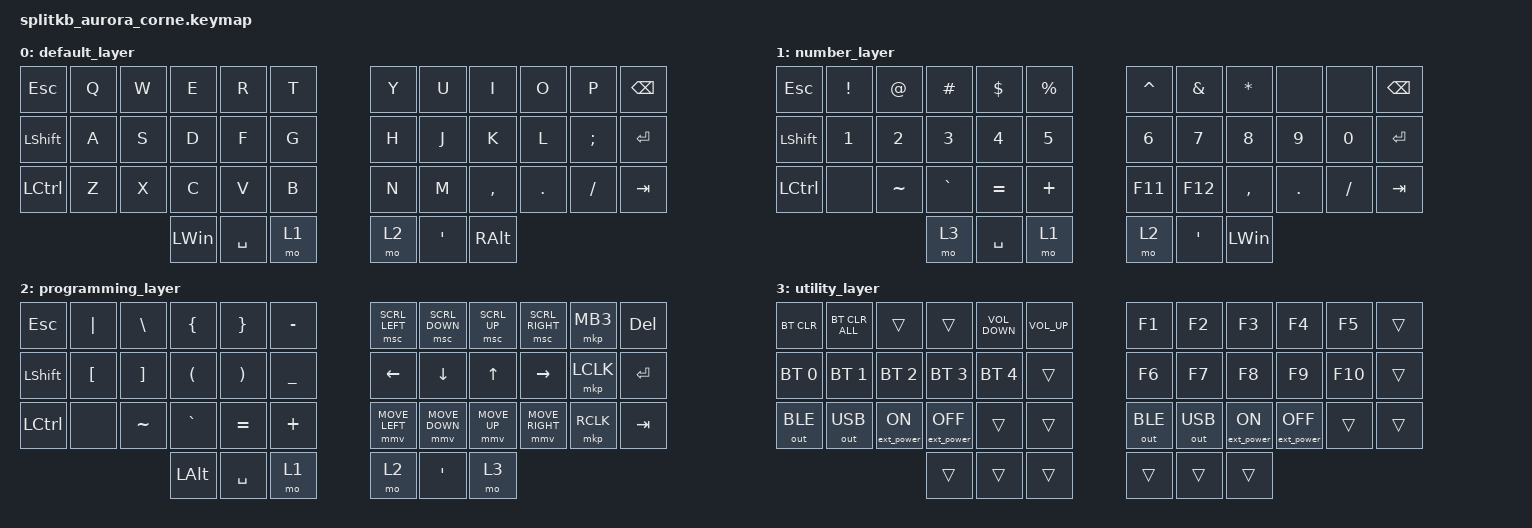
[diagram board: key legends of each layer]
/*
 * Copyright (c) 2020 The ZMK Contributors
 *
 * SPDX-License-Identifier: MIT
 */

#include <behaviors.dtsi>
#include <dt-bindings/zmk/bt.h>
#include <dt-bindings/zmk/ext_power.h>
#include <dt-bindings/zmk/keys.h>
#include <dt-bindings/zmk/outputs.h>
#include <dt-bindings/zmk/pointing.h>

/ {
    keymap {
        compatible = "zmk,keymap";

        default_layer {
            // -----------------------------------------------------------------------------------------
            // |  TAB |  Q  |  W  |  E  |  R  |  T  |   |  Y  |  U   |  I  |  O  |  P  | BSPC |
            // | CTRL |  A  |  S  |  D  |  F  |  G  |   |  H  |  J   |  K  |  L  |  ;  |  '   |
            // | SHFT |  Z  |  X  |  C  |  V  |  B  |   |  N  |  M   |  ,  |  .  |  /  | ESC  |
            //                    | GUI | LWR | SPC |   | ENT | RSE  | ALT |

            bindings = <
&kp ESCAPE        &kp Q  &kp W  &kp E         &kp R      &kp T    &kp Y  &kp U    &kp I          &kp O    &kp P     &kp BSPC
&kp LEFT_SHIFT    &kp A  &kp S  &kp D         &kp F      &kp G    &kp H  &kp J    &kp K          &kp L    &kp SEMI  &kp ENTER
&kp LEFT_CONTROL  &kp Z  &kp X  &kp C         &kp V      &kp B    &kp N  &kp M    &kp COMMA      &kp DOT  &kp FSLH  &kp TAB
                                &kp LEFT_WIN  &kp SPACE  &mo 1    &mo 2  &kp SQT  &kp RIGHT_ALT
            >;
        };

        number_layer {
            // -----------------------------------------------------------------------------------------
            // |  TAB |  1  |  2  |  3  |  4  |  5  |   |  6  |  7  |  8  |  9  |  0  | BSPC |
            // | BTCLR| BT1 | BT2 | BT3 | BT4 | BT5 |   | LFT | DWN |  UP | RGT |     |      |
            // | SHFT |     |     |     |     |     |   |     |     |     |     |     |      |
            //                    | GUI |     | SPC |   | ENT |     | ALT |

            bindings = <
&kp ESCAPE        &kp EXCL  &kp AT     &kp HASH   &kp DOLLAR  &kp PERCENT    &kp CARET  &kp AMPERSAND  &kp ASTRK     &none    &none     &kp BSPC
&kp LEFT_SHIFT    &kp N1    &kp N2     &kp N3     &kp N4      &kp N5         &kp N6     &kp N7         &kp N8        &kp N9   &kp N0    &kp ENTER
&kp LEFT_CONTROL  &none     &kp TILDE  &kp GRAVE  &kp EQUAL   &kp PLUS       &kp F11    &kp F12        &kp COMMA     &kp DOT  &kp FSLH  &kp TAB
                                       &mo 3      &kp SPACE   &mo 1          &mo 2      &kp SQT        &kp LEFT_WIN
            >;
        };

        programming_layer {
            // -----------------------------------------------------------------------------------------
            // |  TAB |  !  |  @  |  #  |  $  |  %  |   |  ^  |  &  |  *  |  (  |  )  | BSPC |
            // | CTRL |     |     |     |     |     |   |  -  |  =  |  [  |  ]  |  \  |  `   |
            // | SHFT |     |     |     |     |     |   |  _  |  +  |  {  |  }  | "|" |  ~   |
            //                    | GUI |     | SPC |   | ENT |     | ALT |

            bindings = <
&kp ESCAPE        &kp PIPE  &kp BACKSLASH  &kp LEFT_BRACE        &kp RIGHT_BRACE        &kp MINUS         &msc SCRL_LEFT  &msc SCRL_DOWN  &msc SCRL_UP  &msc SCRL_RIGHT  &mkp MB3   &kp DEL
&kp LEFT_SHIFT    &kp LBKT  &kp RBKT       &kp LEFT_PARENTHESIS  &kp RIGHT_PARENTHESIS  &kp UNDERSCORE    &kp LEFT        &kp DOWN        &kp UP        &kp RIGHT        &mkp LCLK  &kp ENTER
&kp LEFT_CONTROL  &none     &kp TILDE      &kp GRAVE             &kp EQUAL              &kp PLUS          &mmv MOVE_LEFT  &mmv MOVE_DOWN  &mmv MOVE_UP  &mmv MOVE_RIGHT  &mkp RCLK  &kp TAB
                                           &kp LEFT_ALT          &kp SPACE              &mo 1             &mo 2           &kp SQT         &mo 3
            >;
        };

        utility_layer {
            bindings = <
&bt BT_CLR    &bt BT_CLR_ALL  &trans            &trans             &kp K_VOLUME_DOWN  &kp K_VOLUME_UP    &kp F1        &kp F2        &kp F3            &kp F4             &kp F5   &trans
&bt BT_SEL 0  &bt BT_SEL 1    &bt BT_SEL 2      &bt BT_SEL 3       &bt BT_SEL 4       &trans             &kp F6        &kp F7        &kp F8            &kp F9             &kp F10  &trans
&out OUT_BLE  &out OUT_USB    &ext_power EP_ON  &ext_power EP_OFF  &trans             &trans             &out OUT_BLE  &out OUT_USB  &ext_power EP_ON  &ext_power EP_OFF  &trans   &trans
                                                &trans             &trans             &trans             &trans        &trans        &trans
            >;
        };
    };
};
